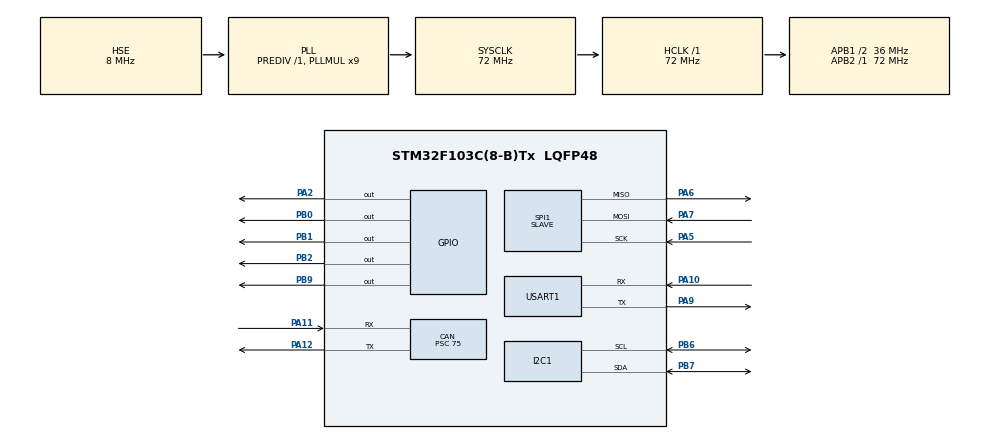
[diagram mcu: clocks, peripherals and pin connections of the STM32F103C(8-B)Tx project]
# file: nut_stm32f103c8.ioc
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CAN.BS1=CAN_BS1_2TQ
CAN.BS2=CAN_BS2_3TQ
CAN.CalculateBaudRate=80000
CAN.CalculateTimeBit=12500
CAN.CalculateTimeQuantum=2083.3333333333335
CAN.Prescaler=75
I2C1.I2C_Mode=I2C_Standard
I2C1.NoStretchMode=I2C_NOSTRETCH_ENABLE
I2C1.OwnAddress=6
Mcu.Family=STM32F1
Mcu.Name=STM32F103C(8-B)Tx
Mcu.Package=LQFP48
NVIC.CAN1_RX1_IRQn=true\:0\:0\:false\:false\:true\:true\:true\:true
NVIC.I2C1_ER_IRQn=true\:0\:0\:false\:false\:true\:true\:true\:true
NVIC.I2C1_EV_IRQn=true\:0\:0\:false\:false\:true\:true\:true\:true
NVIC.PriorityGroup=NVIC_PRIORITYGROUP_4
NVIC.SPI1_IRQn=true\:0\:0\:false\:false\:true\:true\:true\:true
NVIC.USART1_IRQn=true\:0\:0\:false\:false\:true\:true\:true\:true
NVIC.USB_HP_CAN1_TX_IRQn=true\:0\:0\:false\:false\:true\:true\:true\:true
NVIC.USB_LP_CAN1_RX0_IRQn=true\:0\:0\:false\:false\:true\:true\:true\:true
PA10.Mode=Asynchronous
PA10.Signal=USART1_RX
PA11.Mode=CAN_Activate
PA11.Signal=CAN_RX
PA12.Mode=CAN_Activate
PA12.Signal=CAN_TX
PA13.Mode=Serial_Wire
PA13.Signal=SYS_JTMS-SWDIO
PA14.Mode=Serial_Wire
PA14.Signal=SYS_JTCK-SWCLK
PA2.Signal=GPIO_Output
PA5.Mode=Full_Duplex_Slave
PA5.Signal=SPI1_SCK
PA6.Mode=Full_Duplex_Slave
PA6.Signal=SPI1_MISO
PA7.Mode=Full_Duplex_Slave
PA7.Signal=SPI1_MOSI
PA9.Mode=Asynchronous
PA9.Signal=USART1_TX
PB0.Signal=GPIO_Output
PB1.Signal=GPIO_Output
PB2.Signal=GPIO_Output
PB6.Mode=I2C
PB6.Signal=I2C1_SCL
PB7.Mode=I2C
PB7.Signal=I2C1_SDA
PB9.Signal=GPIO_Output
PD0-OSC_IN.Mode=HSE-External-Oscillator
PD0-OSC_IN.Signal=RCC_OSC_IN
PD1-OSC_OUT.Mode=HSE-External-Oscillator
PD1-OSC_OUT.Signal=RCC_OSC_OUT
ProjectManager.HeapSize=0x200
ProjectManager.StackSize=0x400
ProjectManager.TargetToolchain=STM32CubeIDE
RCC.AHBFreq_Value=72000000
RCC.APB1CLKDivider=RCC_HCLK_DIV2
RCC.APB1Freq_Value=36000000
RCC.APB1TimFreq_Value=72000000
RCC.APB2Freq_Value=72000000
RCC.APB2TimFreq_Value=72000000
RCC.HCLKFreq_Value=72000000
RCC.PLLMUL=RCC_PLL_MUL9
RCC.PLLSourceVirtual=RCC_PLLSOURCE_HSE
RCC.SYSCLKFreq_VALUE=72000000
RCC.SYSCLKSource=RCC_SYSCLKSOURCE_PLLCLK
RCC.USBFreq_Value=72000000
SPI1.Direction=SPI_DIRECTION_2LINES
SPI1.Mode=SPI_MODE_SLAVE
SPI1.VirtualType=VM_SLAVE
USART1.VirtualMode=VM_ASYNC
board=custom

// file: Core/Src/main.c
/* USER CODE BEGIN Header */
/**
 ******************************************************************************
 * @file           : main.c
 * @brief          : Main program body
 ******************************************************************************
 * @attention
 *
 * Copyright (c) 2024 STMicroelectronics.
 * All rights reserved.
 *
 * This software is licensed under terms that can be found in the LICENSE file
 * in the root directory of this software component.
 * If no LICENSE file comes with this software, it is provided AS-IS.
 *
 ******************************************************************************
 */

/**
 * Copyright CrackNuts
 */
/* USER CODE END Header */
#include "main.h"
#include "can.h"
#include "i2c.h"
#include "spi.h"
#include "usart.h"
#include "gpio.h"

/* USER CODE BEGIN Includes */
//#include "cmox_crypto.h"
#include <string.h>
#include <stdio.h>
#include "process.h"
/* USER CODE END Includes */

/* USER CODE BEGIN PD */

#define LED_ON HAL_GPIO_WritePin(GPIOB, GPIO_PIN_9, GPIO_PIN_RESET)
#define LED_OFF HAL_GPIO_WritePin(GPIOB, GPIO_PIN_9, GPIO_PIN_SET)

#define USER_IO_SET HAL_GPIO_WritePin(GPIOA, GPIO_PIN_2, GPIO_PIN_SET)
#define USER_IO_CLR HAL_GPIO_WritePin(GPIOA, GPIO_PIN_2, GPIO_PIN_RESET)

#define NUT_IO1_SET HAL_GPIO_WritePin(GPIOB, GPIO_PIN_0, GPIO_PIN_SET)
#define NUT_IO1_CLR HAL_GPIO_WritePin(GPIOB, GPIO_PIN_0, GPIO_PIN_RESET)

#define NUT_IO2_SET HAL_GPIO_WritePin(GPIOB, GPIO_PIN_1, GPIO_PIN_SET)
#define NUT_IO2_CLR HAL_GPIO_WritePin(GPIOB, GPIO_PIN_1, GPIO_PIN_RESET)

#define NUT_IO3_SET HAL_GPIO_WritePin(GPIOB, GPIO_PIN_2, GPIO_PIN_SET)
#define NUT_IO4_CLR HAL_GPIO_WritePin(GPIOB, GPIO_PIN_2, GPIO_PIN_RESET)

/* USER CODE END PD */

/* USER CODE BEGIN PV */
uint8_t flag_uart;
uint8_t flag_spi;
uint8_t flag_i2c;
uint8_t flag_can;
uint8_t flag_cmd_payload; // 0: cmd; 1: payload;

uint8_t can_rx_buffer[8];

//uint8_t CANSendBuff[8]={0,1,2,3,4,5,6,7};
uint32_t CAN_ID = 0x400;
uint32_t CAN_TARGET_ID = 0x400;
static CAN_RxHeaderTypeDef RxMessage;

/* USER CODE END PV */

void SystemClock_Config(void);

/* USER CODE BEGIN 0 */

void HAL_UART_RxCpltCallback(UART_HandleTypeDef *huart) {
	if (huart->Instance == USART1) {
		if (flag_cmd_payload == 0) { // command phase
			payload_len = (rx_buffer[6] << 8) + rx_buffer[7]; // compute payload length
			flag_cmd_payload = 1; // wait for payload
			HAL_UART_Receive_IT(&huart1, rx_buffer + CMD_LEN, payload_len); // receive payload
//			HAL_UART_Receive_IT(&huart1, rx_buffer + CMD_LEN, CMD_LEN); // receive payload
		} else { // payload phase
			flag_uart = 1;
		}
	}
}

void HAL_SPI_TxCpltCallback(SPI_HandleTypeDef *hspi) {
	if (hspi->Instance == SPI1) {
		HAL_SPI_Receive_IT(&hspi1, rx_buffer, CMD_LEN);
	}
}

void HAL_SPI_RxCpltCallback(SPI_HandleTypeDef *hspi) {
	if (hspi->Instance == SPI1) {
		if (flag_cmd_payload == 0) { // command phase
			payload_len = (rx_buffer[6] << 8) + rx_buffer[7]; // compute payload length
			flag_cmd_payload = 1; // wait for payload
			HAL_SPI_Receive_IT(&hspi1, rx_buffer + CMD_LEN, payload_len);
//			HAL_SPI_Receive(&hspi1, rx_buffer + CMD_LEN, CMD_LEN, HAL_MAX_DELAY);
//			flag_spi = 1;
//			HAL_SPI_Receive_IT(&hspi1, rx_buffer + CMD_LEN, payload_len); // receive payload
		} else { // payload phase
			flag_spi = 1;

		}
	}
}

void HAL_SPI_ErrorCallback(SPI_HandleTypeDef *hspi) {
	if (hspi->Instance == SPI1) {
		;
	}

}

//void HAL_I2C_AddrCallback(I2C_HandleTypeDef *hi2c, uint8_t TransferDirection, uint16_t AddrMatchCode)
//{
//    if (TransferDirection == I2C_DIRECTION_RECEIVE)
//    {
//        // 主设备发送数据到Slave
//        HAL_I2C_Slave_Receive_IT(&hi2c1, rxBuffer, RX_BUFFER_SIZE);
//    }
//    else if (TransferDirection == I2C_DIRECTION_TRANSMIT)
//    {
//        // 主设备从Slave读取数据
//        HAL_I2C_Slave_Transmit_IT(&hi2c1, txBuffer, TX_BUFFER_SIZE);
//    }
//}

void HAL_I2C_SlaveRxCpltCallback(I2C_HandleTypeDef *hi2c) {
	// 处理接收到的数据
//    for (uint8_t i = 0; i < RX_BUFFER_SIZE; i++)
//    {
//        // 处理接收到的数据
//        // 例如：将数据存储到某个变量或执行某些操作
//    }
}

void HAL_I2C_SlaveTxCpltCallback(I2C_HandleTypeDef *hi2c) {
	// 处理发�?�完�??????
}

void CAN_SendMsg(uint16_t msgID, uint8_t *Data, uint8_t data_loc,
		uint8_t data_len) {
	CAN_TxHeaderTypeDef TxHeader;
	TxHeader.StdId = msgID;			//stdID
	TxHeader.RTR = CAN_RTR_DATA;		//Êý¾ÝÖ¡,CAN_RTR_DATA
	TxHeader.IDE = CAN_ID_STD;		//±ê×¼¸ñÊ½
	TxHeader.DLC = 8;   				//Êý¾Ý³¤¶È
	TxHeader.TransmitGlobalTime = DISABLE;
	uint8_t TxData[8];		//×î¶à8¸ö×Ö½Ú
	//if(data_loc==0) TxData[0] = 0;
	//else TxData[0] = 0xff;
	TxData[0] = data_loc;
	TxData[1] = *(Data + data_loc * 7 + 0);
	TxData[2] = *(Data + data_loc * 7 + 1);
	TxData[3] = *(Data + data_loc * 7 + 2);
	TxData[4] = *(Data + data_loc * 7 + 3);
	TxData[5] = *(Data + data_loc * 7 + 4);
	TxData[6] = *(Data + data_loc * 7 + 5);
	TxData[7] = *(Data + data_loc * 7 + 6);
	while (HAL_CAN_GetTxMailboxesFreeLevel(&hcan) < 1) {
	} //µÈ´ýÓÐ¿ÉÓÃµÄ·¢ËÍÓÊÏä
	uint32_t TxMailbox;		//ÁÙÊ±±äÁ¿, ÓÃÓÚ·µ»ØÊ¹ÓÃµÄÓÊÏä±àºÅ
	/*  ·¢ËÍµ½ÓÊÏä£¬ÓÉCANÄ£¿é¸ºÔð·¢ËÍµ½CAN×ÜÏß   */
	if (HAL_CAN_AddTxMessage(&hcan, &TxHeader, TxData, &TxMailbox) != HAL_OK) {
		printf("can_err\r\n");
	}
}

void CAN_Sendframe(uint16_t CAN_TARGET_ID, uint8_t *Data, uint8_t can_frame_num) {
	uint8_t i;
	for (i = 0; i < can_frame_num; i++) {
		CAN_SendMsg(CAN_TARGET_ID, Data, i, 8);
		//HAL_Delay(200);
	}
}

uint8_t bsp_can1_filter_config(void) {
	CAN_FilterTypeDef filter = { 0 };
	filter.FilterActivation = ENABLE;
	filter.FilterMode = CAN_FILTERMODE_IDMASK;
	filter.FilterScale = CAN_FILTERSCALE_32BIT;
	filter.FilterBank = 0;
	filter.FilterFIFOAssignment = CAN_FILTER_FIFO0;
	filter.FilterIdLow = 0;
	filter.FilterIdHigh = 0;
	filter.FilterMaskIdLow = 0;
	filter.FilterMaskIdHigh = 0;
	HAL_CAN_ConfigFilter(&hcan, &filter);

	return 0x00;
}

void HAL_CAN_RxFifo0MsgPendingCallback(CAN_HandleTypeDef *hcan) {

	uint8_t data[8];
	HAL_StatusTypeDef status;

	status = HAL_CAN_GetRxMessage(hcan, CAN_RX_FIFO0, &RxMessage, data);
	if (HAL_OK == status) {
		if (CAN_ID == RxMessage.StdId) {
			memcpy(can_rx_buffer, data, 8);

			flag_can = 1;
		}
	}

}

//new add 202504023
void user_UART_reInit(uint32_t boundrate)
{

  huart1.Instance = USART1;
  huart1.Init.BaudRate = boundrate;
  huart1.Init.WordLength = UART_WORDLENGTH_8B;
  huart1.Init.StopBits = UART_STOPBITS_1;
  huart1.Init.Parity = UART_PARITY_NONE;
  huart1.Init.Mode = UART_MODE_TX_RX;
  huart1.Init.HwFlowCtl = UART_HWCONTROL_NONE;
  huart1.Init.OverSampling = UART_OVERSAMPLING_16;
  if (HAL_UART_Init(&huart1) != HAL_OK)
  {
    Error_Handler();
  }
}

void process_resetboundrate(void) {
	uint32_t boundrate;
	if((rx_buffer[0] == 0xff)&&(rx_buffer[7] == 0x04))
		{
			if (rx_buffer[1] == 0x01) { // Set uart boundrate
				  boundrate= ((uint32_t)rx_buffer[8]<<24)|((uint32_t)rx_buffer[9] <<16 )|((uint32_t)rx_buffer[10] <<8)| ( (uint32_t)rx_buffer[11]);

				 // HAL_UART_Transmit(&huart1, tx_buffer, 6 + payload_len, 0xffff);
				  //HAL_UART_DeInit(&huart1);
				  user_UART_reInit(boundrate);
				  tx_buffer[0]=0x96;
				  tx_buffer[1]=0x00;
				  //HAL_UART_Transmit(&huart1, tx_buffer, 2, 0xffff);
	        } else if (rx_buffer[1] == 0x02) {
						boundrate= rx_buffer[8] <<24 + rx_buffer[9] <<16 +rx_buffer[10] <<8 + rx_buffer[11];
	    } else	{
		     boundrate= 0;
	    }
		} else {
		  boundrate= 0;
		}

}

/* USER CODE END 0 */

int main(void)
{

  /* MCU Configuration--------------------------------------------------------*/

  /* Reset of all peripherals, Initializes the Flash interface and the Systick. */
  HAL_Init();

  /* Configure the system clock */
  SystemClock_Config();

  /* Initialize all configured peripherals */
  MX_GPIO_Init();
  MX_USART1_UART_Init();
  MX_CAN_Init();
  MX_I2C1_Init();
  MX_SPI1_Init();
  /* USER CODE BEGIN 2 */
	flag_uart = 0;
	flag_spi = 0;
	flag_i2c = 0;
	flag_can = 0;
	flag_cmd_payload = 0;

	HAL_UART_Receive_IT(&huart1, rx_buffer, CMD_LEN);
	HAL_SPI_Receive_IT(&hspi1, rx_buffer, CMD_LEN);

	bsp_can1_filter_config();		//ÂË²¨Æ÷ÉèÖÃ£¬½ÓÊÕËùÓÐÖ¡
	HAL_CAN_Start(&hcan);		//Æô¶¯CAN
	HAL_CAN_ActivateNotification(&hcan, CAN_IT_RX_FIFO0_MSG_PENDING);//ÖÐ¶Ï½ÓÊÕÊ¹ÄÜ
	for (uint8_t i = 0; i < 16; i++)
		tx_buffer[i] = i;
	HAL_UART_Transmit(&huart1, tx_buffer, 6 + payload_len, 0xffff);
	process_init();
  /* USER CODE END 2 */

  /* Infinite loop */
	while (1) {

    /* USER CODE BEGIN 3 */

		if (flag_uart || flag_spi || flag_i2c || flag_can) {
			SysTick->CTRL &= ~SysTick_CTRL_TICKINT_Msk;

			LED_ON;
			USER_IO_SET;

			NUT_IO1_SET;
			process_cmd();
			NUT_IO1_CLR;

			USER_IO_CLR;
			LED_OFF;
			SysTick->CTRL &= SysTick_CTRL_TICKINT_Msk;

			tx_buffer[0] = (status & 0xff00) >> 8;
			tx_buffer[1] = status & 0xff;
			tx_buffer[2] = 0;
			tx_buffer[3] = 0;
			tx_buffer[4] = (payload_len & 0xff00) >> 8;

			tx_buffer[5] = payload_len & 0xff;

			for (uint8_t i = 6; i < payload_len + 6; i++)//make fake txbuffer data for test
					{
				tx_buffer[i] = i;
			}

			if (flag_uart) {
				HAL_UART_Transmit(&huart1, tx_buffer, 6 + payload_len, 0xffff);
				flag_uart = 0;
				process_resetboundrate();
				HAL_UART_Receive_IT(&huart1, rx_buffer, CMD_LEN);
			} else if (flag_spi) {
				HAL_SPI_Transmit_IT(&hspi1, tx_buffer, 6 + payload_len);
				flag_spi = 0;
			} else if (flag_can) {
				uint32_t rx_data_cnt;
				uint32_t rx_payload;
//				uint8_t rx_DLC;
//				rx_DLC = RxMessage.DLC;

				if (can_rx_buffer[0] == 0)		//frame_start
						{
					rx_payload = (can_rx_buffer[5] << 8) + can_rx_buffer[6];
					rx_data_cnt = 0;
				}

				for (uint8_t i = 0; i < 7; i++)	//make fake txbuffer data for test
						{
					rx_buffer[rx_data_cnt] = can_rx_buffer[i + 1];
					rx_data_cnt = rx_data_cnt + 1;
				}

				if (rx_data_cnt >= rx_payload + 6 - 1) {  //frame end
				//generate can_frame_num by counting every 8bytes;for a CAN_tx frame is 8bytes
					uint8_t can_frame_num = (6 + payload_len) / 7;
					//pluse 1 frame_num,if there areis extra bytes exceed 8bytes
					if ((6 + payload_len) % 7 != 0)
						can_frame_num = can_frame_num + 1;
					CAN_Sendframe(CAN_TARGET_ID, tx_buffer, can_frame_num);
				}

				flag_can = 0;
			}

			flag_cmd_payload = 0;

		}  // if (flag_uart || flag_spi || flag_i2c || flag_can)
	}  // while(1)
	process_deinit();

  /* USER CODE END 3 */
}

void SystemClock_Config(void)
{
  RCC_OscInitTypeDef RCC_OscInitStruct = {0};
  RCC_ClkInitTypeDef RCC_ClkInitStruct = {0};

  /** Initializes the RCC Oscillators according to the specified parameters
  * in the RCC_OscInitTypeDef structure.
  */
  RCC_OscInitStruct.OscillatorType = RCC_OSCILLATORTYPE_HSE;
  RCC_OscInitStruct.HSEState = RCC_HSE_ON;
  RCC_OscInitStruct.HSEPredivValue = RCC_HSE_PREDIV_DIV1;
  RCC_OscInitStruct.HSIState = RCC_HSI_ON;
  RCC_OscInitStruct.PLL.PLLState = RCC_PLL_ON;
  RCC_OscInitStruct.PLL.PLLSource = RCC_PLLSOURCE_HSE;
  RCC_OscInitStruct.PLL.PLLMUL = RCC_PLL_MUL9;
  if (HAL_RCC_OscConfig(&RCC_OscInitStruct) != HAL_OK)
  {
    Error_Handler();
  }

  /** Initializes the CPU, AHB and APB buses clocks
  */
  RCC_ClkInitStruct.ClockType = RCC_CLOCKTYPE_HCLK|RCC_CLOCKTYPE_SYSCLK
                              |RCC_CLOCKTYPE_PCLK1|RCC_CLOCKTYPE_PCLK2;
  RCC_ClkInitStruct.SYSCLKSource = RCC_SYSCLKSOURCE_PLLCLK;
  RCC_ClkInitStruct.AHBCLKDivider = RCC_SYSCLK_DIV1;
  RCC_ClkInitStruct.APB1CLKDivider = RCC_HCLK_DIV2;
  RCC_ClkInitStruct.APB2CLKDivider = RCC_HCLK_DIV1;

  if (HAL_RCC_ClockConfig(&RCC_ClkInitStruct, FLASH_LATENCY_2) != HAL_OK)
  {
    Error_Handler();
  }
}

void Error_Handler(void)
{
	__disable_irq();
	while (1) {
	}
}
